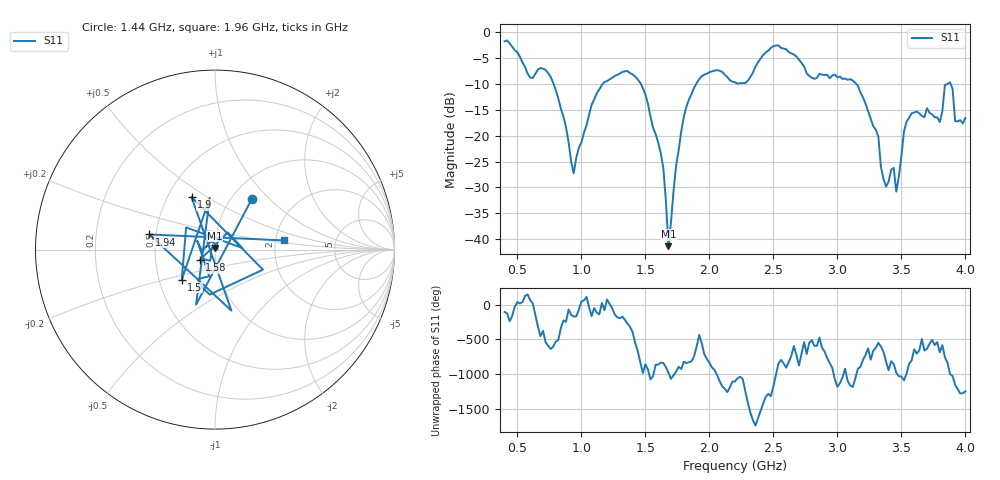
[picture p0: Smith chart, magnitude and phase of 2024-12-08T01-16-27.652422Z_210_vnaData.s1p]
!Created with skrf (http://scikit-rf.org).
# Hz S RI R 50.0
!freq ReS11 ImS11
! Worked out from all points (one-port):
!   181 points, 400 MHz to 4 GHz, reference 50 ohm
!   lowest |S11| = -41.4 dB at 1.68 GHz (marker M1), VSWR 1.02, Z = 49.8 + j0.832 ohm
!   |S11| at or under -10 dB: 782.6 MHz to 1.167 GHz (384.3 MHz wide, 39.4 % of centre); 1.465 GHz to 1.897 GHz (432.3 MHz wide, 25.7 % of centre); 3.148 GHz to 3.86 GHz (712.7 MHz wide, 20.3 % of centre) (the widest 3 of 4)
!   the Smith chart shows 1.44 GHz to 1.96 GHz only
!   S11 on the Smith chart (normalised r, x): 1.44 GHz: 1.23, +0.80; 1.5 GHz: 0.65, -0.23; 1.58 GHz: 0.84, -0.10; 1.9 GHz: 0.66, +0.43; 1.94 GHz: 0.46, +0.09; 1.96 GHz: 2.23, +0.27
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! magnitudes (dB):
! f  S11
! 400 MHz  -1.8
! 600 MHz  -8.7
! 720 MHz  -7.3
! 860 MHz  -16.3
! 940 MHz  -27.3
! 1.12 GHz  -11.8
! 1.3 GHz  -8.0
! 1.44 GHz  -9.1
! 1.5 GHz  -12.0
! 1.58 GHz  -19.7
! 1.64 GHz  -26.3
! 1.68 GHz  -41.4
! 1.76 GHz  -22.8
! 1.9 GHz  -9.9
! 1.94 GHz  -8.5
! 1.96 GHz  -8.2
! 2.2 GHz  -9.7
! 2.66 GHz  -4.3
! 3.1 GHz  -9.1
! 3.32 GHz  -20.1
! 3.38 GHz  -29.8
! 3.44 GHz  -26.2
! 3.46 GHz  -30.8
! 3.56 GHz  -16.6
! 3.8 GHz  -17.4
! 3.88 GHz  -9.7
! 3.92 GHz  -17.2
! 4 GHz  -16.6
